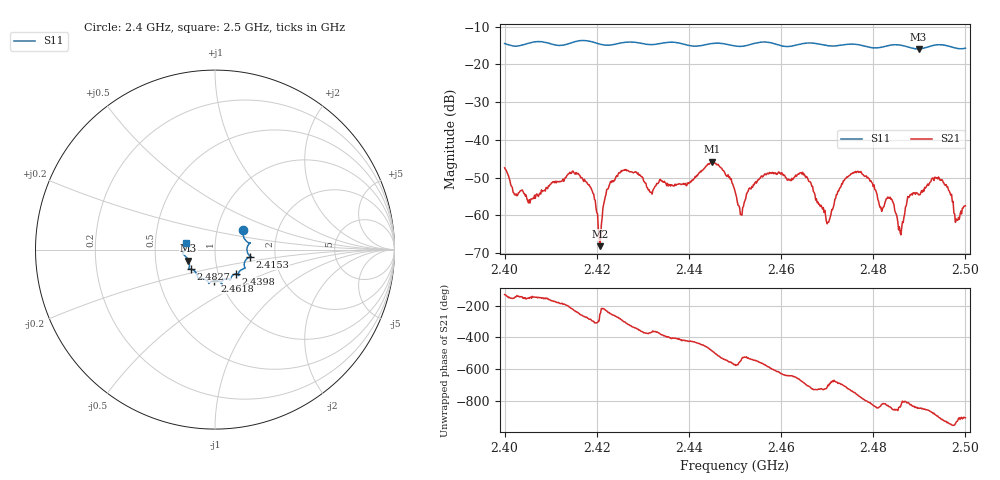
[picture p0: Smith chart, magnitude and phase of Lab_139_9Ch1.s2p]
# Hz S RI R 50
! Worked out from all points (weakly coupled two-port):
!   601 points, 2.4 GHz to 2.5 GHz, reference 50 ohm
!   highest |S21| = -45.75 dB at 2.445 GHz (marker M1); lowest = -68.1 dB at 2.4207 GHz (marker M2)
!   lowest |S11| = -15.9 dB at 2.4898 GHz (marker M3), VSWR 1.38, Z = 36.9 - j4.61 ohm
!   |S11| at or under -10 dB: start of sweep to end of sweep
!   S12 and S22 are empty: the file has one direction only
!   S11 on the Smith chart (normalised r, x): 2.4 GHz: 1.33, +0.29; 2.4153 GHz: 1.48, -0.12; 2.4398 GHz: 1.21, -0.34; 2.4618 GHz: 0.94, -0.33; 2.4827 GHz: 0.75, -0.17; 2.5 GHz: 0.72, +0.06
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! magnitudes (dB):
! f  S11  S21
! 2.4 GHz  -14.5  -47.4
! 2.4053 GHz  -14.4  -55.8
! 2.4153 GHz  -14.0  -49.1
! 2.4167 GHz  -13.7  -50.0
! 2.4207 GHz  -14.7  -68.1
! 2.4252 GHz  -14.4  -48.6
! 2.4333 GHz  -14.6  -51.5
! 2.4398 GHz  -15.0  -51.6
! 2.445 GHz  -14.5  -45.7
! 2.45 GHz  -15.1  -53.6
! 2.4513 GHz  -15.3  -59.8
! 2.4618 GHz  -15.3  -50.6
! 2.4667 GHz  -14.4  -52.3
! 2.4702 GHz  -15.1  -61.8
! 2.4757 GHz  -14.7  -48.8
! 2.4827 GHz  -15.2  -56.2
! 2.4833 GHz  -15.0  -55.4
! 2.486 GHz  -14.9  -65.1
! 2.4898 GHz  -15.9  -54.5
! 2.4938 GHz  -14.8  -50.0
! 2.4982 GHz  -15.8  -61.2
! 2.5 GHz  -15.7  -57.4
